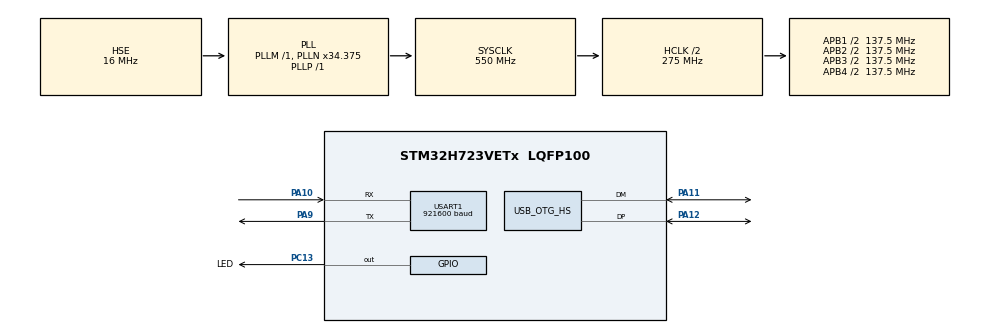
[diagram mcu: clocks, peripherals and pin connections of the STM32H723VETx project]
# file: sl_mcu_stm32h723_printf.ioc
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CORTEX_M7.CPU_DCache=Enabled
CORTEX_M7.CPU_ICache=Enabled
CORTEX_M7.default_mode_Activation=1
Mcu.Family=STM32H7
Mcu.Name=STM32H723VETx
Mcu.Package=LQFP100
NVIC.OTG_HS_IRQn=true\:0\:0\:false\:false\:true\:false\:true\:true
NVIC.PriorityGroup=NVIC_PRIORITYGROUP_4
PA10.Mode=Asynchronous
PA10.Signal=USART1_RX
PA11.Mode=Device_Only_FS
PA11.Signal=USB_OTG_HS_DM
PA12.Mode=Device_Only_FS
PA12.Signal=USB_OTG_HS_DP
PA13(JTMS/SWDIO).Mode=Trace_Asynchronous_SW
PA13(JTMS/SWDIO).Signal=DEBUG_JTMS-SWDIO
PA14(JTCK/SWCLK).Mode=Trace_Asynchronous_SW
PA14(JTCK/SWCLK).Signal=DEBUG_JTCK-SWCLK
PA9.Mode=Asynchronous
PA9.Signal=USART1_TX
PB3(JTDO/TRACESWO).Mode=Trace_Asynchronous_SW
PB3(JTDO/TRACESWO).Signal=DEBUG_JTDO-SWO
PC13.GPIO_Label=LED
PC13.GPIO_ModeDefaultOutputPP=GPIO_MODE_OUTPUT_OD
PC13.GPIO_PuPd=GPIO_NOPULL
PC13.PinState=GPIO_PIN_SET
PC13.Signal=GPIO_Output
PH0-OSC_IN.Mode=HSE-External-Oscillator
PH0-OSC_IN.Signal=RCC_OSC_IN
PH1-OSC_OUT.Mode=HSE-External-Oscillator
PH1-OSC_OUT.Signal=RCC_OSC_OUT
ProjectManager.HeapSize=0x200
ProjectManager.StackSize=0x400
ProjectManager.TargetToolchain=STM32CubeIDE
RCC.ADCFreq_Value=32250000
RCC.APB1Freq_Value=137500000
RCC.APB2Freq_Value=137500000
RCC.APB3Freq_Value=137500000
RCC.APB4Freq_Value=137500000
RCC.CortexFreq_Value=550000000
RCC.D1PPRE=RCC_APB3_DIV2
RCC.D2PPRE1=RCC_APB1_DIV2
RCC.D2PPRE2=RCC_APB2_DIV2
RCC.D3PPRE=RCC_APB4_DIV2
RCC.DIVM1=1
RCC.DIVN1=34
RCC.DIVP1=1
RCC.DIVQ1=5
RCC.HCLKFreq_Value=275000000
RCC.HPRE=RCC_HCLK_DIV2
RCC.HSE_VALUE=16000000
RCC.PLLFRACN=3072
RCC.PLLSourceVirtual=RCC_PLLSOURCE_HSE
RCC.SYSCLKFreq_VALUE=550000000
RCC.SYSCLKSource=RCC_SYSCLKSOURCE_PLLCLK
RCC.USBCLockSelection=RCC_USBCLKSOURCE_HSI48
RCC.USBFreq_Value=48000000
USART1.BaudRate=921600
USART1.VirtualMode-Asynchronous=VM_ASYNC
USB_DEVICE.CLASS_NAME_HS=CDC
USB_DEVICE.MANUFACTURER_STRING=STM32World
USB_DEVICE.USBD_SELF_POWERED=0
USB_DEVICE.VirtualMode=Cdc
USB_DEVICE.VirtualModeHS=Cdc_HS
USB_OTG_HS.VirtualMode-Device_Only_FS=Device_Only_FS
VP_CRC_VS_CRC.Mode=CRC_Activate
VP_MEMORYMAP_VS_MEMORYMAP.Mode=CurAppReg
VP_USB_DEVICE_VS_USB_DEVICE_CDC_HS.Mode=CDC_HS
board=custom

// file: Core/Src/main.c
/* USER CODE BEGIN Header */
/**
 ******************************************************************************
 * @file           : main.c
 * @brief          : Main program body
 ******************************************************************************
 * @attention
 *
 * Copyright (c) 2026 STM32World <lth@stm32world.com>
 * All rights reserved.
 *
 * This software is licensed under terms that can be found in the LICENSE file
 * in the root directory of this software component.
 * If no LICENSE file comes with this software, it is provided AS-IS.
 *
 ******************************************************************************
 */
/* USER CODE END Header */
#include "main.h"
#include "usb_device.h"

/* USER CODE BEGIN Includes */
#include <stdio.h>
/* USER CODE END Includes */

CRC_HandleTypeDef hcrc;

UART_HandleTypeDef huart1;

void SystemClock_Config(void);
static void MPU_Config(void);
static void MX_GPIO_Init(void);
static void MX_USART1_UART_Init(void);
static void MX_CRC_Init(void);

int main(void)
{

    /* MPU Configuration--------------------------------------------------------*/
    MPU_Config();

    /* Enable the CPU Cache */

    /* Enable I-Cache---------------------------------------------------------*/
    SCB_EnableICache();

    /* Enable D-Cache---------------------------------------------------------*/
    SCB_EnableDCache();

    /* MCU Configuration--------------------------------------------------------*/

    /* Reset of all peripherals, Initializes the Flash interface and the Systick. */
    HAL_Init();

    /* Configure the system clock */
    SystemClock_Config();

    /* Initialize all configured peripherals */
    MX_GPIO_Init();
    MX_USART1_UART_Init();
    MX_CRC_Init();
    MX_USB_DEVICE_Init();
    /* USER CODE BEGIN 2 */

    setbuf(stdout, NULL);

    printf("\n\n\nStarting H723 Printf Example\n");

    /* USER CODE END 2 */

    /* Infinite loop */
    /* USER CODE BEGIN WHILE */

    uint32_t now, loop_cnt = 0, next_blink = 500, next_tick = 1000;

    while (1) {

        now = uwTick;

        if (now >= next_blink) {
            HAL_GPIO_TogglePin(LED_GPIO_Port, LED_Pin);
            next_blink = now + 500;
        }

        if (now >= next_tick) {
            printf("Tick %lu (loop=%lu)\n", now / 1000, loop_cnt);

            loop_cnt = 0;
            next_tick = now + 1000;
        }

        ++loop_cnt;

        /* USER CODE END WHILE */

    }
}

void SystemClock_Config(void)
{
    RCC_OscInitTypeDef RCC_OscInitStruct = { 0 };
    RCC_ClkInitTypeDef RCC_ClkInitStruct = { 0 };

    /** Supply configuration update enable
     */
    HAL_PWREx_ConfigSupply(PWR_LDO_SUPPLY);

    /** Configure the main internal regulator output voltage
     */
    __HAL_PWR_VOLTAGESCALING_CONFIG(PWR_REGULATOR_VOLTAGE_SCALE0);

    while (!__HAL_PWR_GET_FLAG(PWR_FLAG_VOSRDY)) {
    }

    /** Initializes the RCC Oscillators according to the specified parameters
     * in the RCC_OscInitTypeDef structure.
     */
    RCC_OscInitStruct.OscillatorType = RCC_OSCILLATORTYPE_HSI48 | RCC_OSCILLATORTYPE_HSE;
    RCC_OscInitStruct.HSEState = RCC_HSE_ON;
    RCC_OscInitStruct.HSI48State = RCC_HSI48_ON;
    RCC_OscInitStruct.PLL.PLLState = RCC_PLL_ON;
    RCC_OscInitStruct.PLL.PLLSource = RCC_PLLSOURCE_HSE;
    RCC_OscInitStruct.PLL.PLLM = 1;
    RCC_OscInitStruct.PLL.PLLN = 34;
    RCC_OscInitStruct.PLL.PLLP = 1;
    RCC_OscInitStruct.PLL.PLLQ = 5;
    RCC_OscInitStruct.PLL.PLLR = 2;
    RCC_OscInitStruct.PLL.PLLRGE = RCC_PLL1VCIRANGE_3;
    RCC_OscInitStruct.PLL.PLLVCOSEL = RCC_PLL1VCOWIDE;
    RCC_OscInitStruct.PLL.PLLFRACN = 3072;
    if (HAL_RCC_OscConfig(&RCC_OscInitStruct) != HAL_OK)
            {
        Error_Handler();
    }

    /** Initializes the CPU, AHB and APB buses clocks
     */
    RCC_ClkInitStruct.ClockType = RCC_CLOCKTYPE_HCLK | RCC_CLOCKTYPE_SYSCLK
            | RCC_CLOCKTYPE_PCLK1 | RCC_CLOCKTYPE_PCLK2
            | RCC_CLOCKTYPE_D3PCLK1 | RCC_CLOCKTYPE_D1PCLK1;
    RCC_ClkInitStruct.SYSCLKSource = RCC_SYSCLKSOURCE_PLLCLK;
    RCC_ClkInitStruct.SYSCLKDivider = RCC_SYSCLK_DIV1;
    RCC_ClkInitStruct.AHBCLKDivider = RCC_HCLK_DIV2;
    RCC_ClkInitStruct.APB3CLKDivider = RCC_APB3_DIV2;
    RCC_ClkInitStruct.APB1CLKDivider = RCC_APB1_DIV2;
    RCC_ClkInitStruct.APB2CLKDivider = RCC_APB2_DIV2;
    RCC_ClkInitStruct.APB4CLKDivider = RCC_APB4_DIV2;

    if (HAL_RCC_ClockConfig(&RCC_ClkInitStruct, FLASH_LATENCY_3) != HAL_OK)
            {
        Error_Handler();
    }
}

static void MX_CRC_Init(void)
{

    hcrc.Instance = CRC;
    hcrc.Init.DefaultPolynomialUse = DEFAULT_POLYNOMIAL_ENABLE;
    hcrc.Init.DefaultInitValueUse = DEFAULT_INIT_VALUE_ENABLE;
    hcrc.Init.InputDataInversionMode = CRC_INPUTDATA_INVERSION_NONE;
    hcrc.Init.OutputDataInversionMode = CRC_OUTPUTDATA_INVERSION_DISABLE;
    hcrc.InputDataFormat = CRC_INPUTDATA_FORMAT_BYTES;
    if (HAL_CRC_Init(&hcrc) != HAL_OK)
            {
        Error_Handler();
    }

}

static void MX_USART1_UART_Init(void)
{

    huart1.Instance = USART1;
    huart1.Init.BaudRate = 921600;
    huart1.Init.WordLength = UART_WORDLENGTH_8B;
    huart1.Init.StopBits = UART_STOPBITS_1;
    huart1.Init.Parity = UART_PARITY_NONE;
    huart1.Init.Mode = UART_MODE_TX_RX;
    huart1.Init.HwFlowCtl = UART_HWCONTROL_NONE;
    huart1.Init.OverSampling = UART_OVERSAMPLING_16;
    huart1.Init.OneBitSampling = UART_ONE_BIT_SAMPLE_DISABLE;
    huart1.Init.ClockPrescaler = UART_PRESCALER_DIV1;
    huart1.AdvancedInit.AdvFeatureInit = UART_ADVFEATURE_NO_INIT;
    if (HAL_UART_Init(&huart1) != HAL_OK)
            {
        Error_Handler();
    }
    if (HAL_UARTEx_SetTxFifoThreshold(&huart1, UART_TXFIFO_THRESHOLD_1_8) != HAL_OK)
            {
        Error_Handler();
    }
    if (HAL_UARTEx_SetRxFifoThreshold(&huart1, UART_RXFIFO_THRESHOLD_1_8) != HAL_OK)
            {
        Error_Handler();
    }
    if (HAL_UARTEx_DisableFifoMode(&huart1) != HAL_OK)
            {
        Error_Handler();
    }

}

static void MX_GPIO_Init(void)
{
    GPIO_InitTypeDef GPIO_InitStruct = { 0 };

    /* GPIO Ports Clock Enable */
    __HAL_RCC_GPIOC_CLK_ENABLE();
    __HAL_RCC_GPIOH_CLK_ENABLE();
    __HAL_RCC_GPIOA_CLK_ENABLE();
    __HAL_RCC_GPIOB_CLK_ENABLE();

    /*Configure GPIO pin Output Level */
    HAL_GPIO_WritePin(LED_GPIO_Port, LED_Pin, GPIO_PIN_SET);

    /*Configure GPIO pin : LED_Pin */
    GPIO_InitStruct.Pin = LED_Pin;
    GPIO_InitStruct.Mode = GPIO_MODE_OUTPUT_OD;
    GPIO_InitStruct.Pull = GPIO_NOPULL;
    GPIO_InitStruct.Speed = GPIO_SPEED_FREQ_LOW;
    HAL_GPIO_Init(LED_GPIO_Port, &GPIO_InitStruct);

}

/* USER CODE BEGIN 4 */

// Send printf to uart1
int _write(int fd, char* ptr, int len) {
  HAL_StatusTypeDef hstatus;

  if (fd == 1 || fd == 2) {
    hstatus = HAL_UART_Transmit(&huart1, (uint8_t *) ptr, len, HAL_MAX_DELAY);
    if (hstatus == HAL_OK)
      return len;
    else
      return -1;
  }
  return -1;
}

//// Send printf to uart1
//int __io_putchar(int ch) {
//    if (ch == '\n') {
//        HAL_UART_Transmit(&huart1, (uint8_t*) "\r", 1, HAL_MAX_DELAY);
//    }
//    if (HAL_UART_Transmit(&huart1, (uint8_t*) &ch, 1, HAL_MAX_DELAY) != HAL_OK) {
//        return -1;
//    }
//    return ch;
//}

//// Send stdout to USART1 and stderr to SWO
//int __io_putchar(int ch) {
//
//    ITM_SendChar(ch); /* core_cm4.h */
//    return ch;
//
//}

/* USER CODE END 4 */

/* MPU Configuration */

void MPU_Config(void)
{
    MPU_Region_InitTypeDef MPU_InitStruct = { 0 };

    /* Disables the MPU */
    HAL_MPU_Disable();

    /** Initializes and configures the Region and the memory to be protected
     */
    MPU_InitStruct.Enable = MPU_REGION_ENABLE;
    MPU_InitStruct.Number = MPU_REGION_NUMBER0;
    MPU_InitStruct.BaseAddress = 0x0;
    MPU_InitStruct.Size = MPU_REGION_SIZE_4GB;
    MPU_InitStruct.SubRegionDisable = 0x87;
    MPU_InitStruct.TypeExtField = MPU_TEX_LEVEL0;
    MPU_InitStruct.AccessPermission = MPU_REGION_NO_ACCESS;
    MPU_InitStruct.DisableExec = MPU_INSTRUCTION_ACCESS_DISABLE;
    MPU_InitStruct.IsShareable = MPU_ACCESS_SHAREABLE;
    MPU_InitStruct.IsCacheable = MPU_ACCESS_NOT_CACHEABLE;
    MPU_InitStruct.IsBufferable = MPU_ACCESS_NOT_BUFFERABLE;

    HAL_MPU_ConfigRegion(&MPU_InitStruct);
    /* Enables the MPU */
    HAL_MPU_Enable(MPU_PRIVILEGED_DEFAULT);

}

void Error_Handler(void)
{
    __disable_irq();
    while (1)
    {
    }
}
